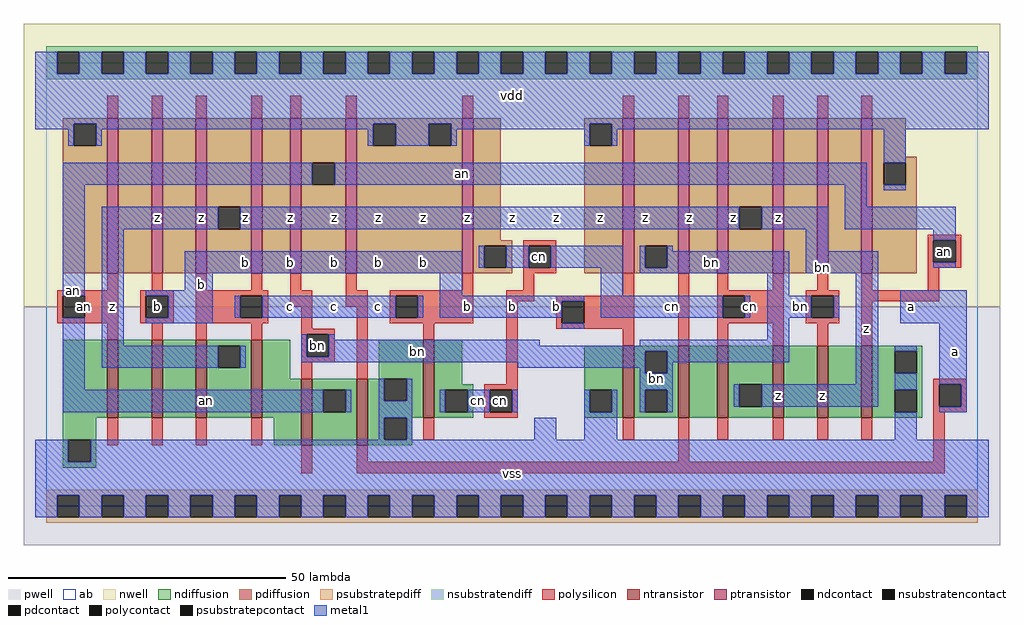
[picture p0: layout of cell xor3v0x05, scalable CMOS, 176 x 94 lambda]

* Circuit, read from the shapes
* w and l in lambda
.subckt xor3v0x05 a an b bn c cn vdd vss z
M1 n1 an vss vss nfet w=14 l=2
M2 n2 b n1 vss nfet w=14 l=2
M3 z c n2 vss nfet w=14 l=2
M4 n3 c z vss nfet w=14 l=2
M5 an bn n3 vss nfet w=12 l=2
M6 vss a an vss nfet w=12 l=2
M7 cn c vss vss nfet w=14 l=2
M8 bn b vss vss nfet w=13 l=2
M9 n4 a bn vss nfet w=13 l=2
M10 z cn n4 vss nfet w=13 l=2
M11 n5 cn z vss nfet w=13 l=2
M12 n6 bn n5 vss nfet w=13 l=2
M13 vss an n6 vss nfet w=13 l=2
M14 n7 an vdd vdd pfet w=28 l=2
M15 n8 b n7 vdd pfet w=28 l=2
M16 z c n8 vdd pfet w=28 l=2
M17 n9 c z vdd pfet w=28 l=2
M18 an bn n9 vdd pfet w=28 l=2
M19 vdd a an vdd pfet w=28 l=2
M20 cn c vdd vdd pfet w=28 l=2
M21 bn b vdd vdd pfet w=28 l=2
M22 n10 a bn vdd pfet w=28 l=2
M23 z cn n10 vdd pfet w=28 l=2
M24 n11 cn z vdd pfet w=28 l=2
M25 n12 bn n11 vdd pfet w=28 l=2
M26 vdd an n12 vdd pfet w=28 l=2
.ends

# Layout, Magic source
magic
tech scmos
<< ab >>
rect 0 0 168 80
<< pwell >>
rect -4 -7 172 36
<< nwell >>
rect -4 36 172 87
<< polysilicon >>
rect 11 70 13 74
rect 19 70 21 74
rect 27 70 29 74
rect 37 70 39 74
rect 44 70 46 74
rect 54 70 56 74
rect 75 70 77 74
rect 104 70 106 74
rect 114 70 116 74
rect 121 70 123 74
rect 131 70 133 74
rect 139 70 141 74
rect 147 70 149 74
rect 86 47 92 48
rect 86 43 87 47
rect 91 43 92 47
rect 86 42 92 43
rect 159 48 165 49
rect 159 44 160 48
rect 164 44 165 48
rect 159 43 165 44
rect 11 39 13 42
rect 19 39 21 42
rect 27 39 29 42
rect 37 39 39 42
rect 44 39 46 42
rect 54 39 56 42
rect 75 39 77 42
rect 86 39 88 42
rect 2 38 13 39
rect 2 34 3 38
rect 7 34 13 38
rect 2 33 13 34
rect 17 38 23 39
rect 17 34 18 38
rect 22 34 23 38
rect 17 33 23 34
rect 27 38 40 39
rect 27 34 35 38
rect 39 34 40 38
rect 44 36 48 39
rect 54 36 58 39
rect 27 33 40 34
rect 11 30 13 33
rect 19 30 21 33
rect 27 30 29 33
rect 37 30 39 33
rect 46 32 48 36
rect 46 31 52 32
rect 46 27 47 31
rect 51 27 52 31
rect 46 26 52 27
rect 46 23 48 26
rect 56 23 58 36
rect 62 38 77 39
rect 62 34 63 38
rect 67 34 77 38
rect 62 33 77 34
rect 83 37 88 39
rect 104 38 106 42
rect 92 37 106 38
rect 68 30 70 33
rect 11 11 13 16
rect 19 11 21 16
rect 27 11 29 16
rect 37 11 39 16
rect 83 22 85 37
rect 92 33 93 37
rect 97 33 106 37
rect 92 32 106 33
rect 104 29 106 32
rect 114 29 116 42
rect 121 39 123 42
rect 131 39 133 42
rect 139 39 141 42
rect 147 39 149 42
rect 159 39 161 43
rect 121 38 133 39
rect 121 34 122 38
rect 126 34 133 38
rect 121 33 133 34
rect 137 38 143 39
rect 137 34 138 38
rect 142 34 143 38
rect 137 33 143 34
rect 147 37 161 39
rect 121 29 123 33
rect 131 29 133 33
rect 139 29 141 33
rect 147 29 149 37
rect 79 21 85 22
rect 79 17 80 21
rect 84 17 85 21
rect 79 16 85 17
rect 160 22 166 23
rect 160 18 161 22
rect 165 18 166 22
rect 160 17 166 18
rect 68 12 70 16
rect 104 12 106 16
rect 46 6 48 11
rect 56 8 58 11
rect 114 8 116 16
rect 121 12 123 16
rect 131 12 133 16
rect 139 12 141 16
rect 147 12 149 16
rect 160 8 162 17
rect 56 6 162 8
<< ndiffusion >>
rect 3 16 11 30
rect 13 16 19 30
rect 21 16 27 30
rect 29 29 37 30
rect 29 25 31 29
rect 35 25 37 29
rect 29 16 37 25
rect 39 23 44 30
rect 60 23 68 30
rect 39 16 46 23
rect 3 12 9 16
rect 3 8 4 12
rect 8 8 9 12
rect 41 11 46 16
rect 48 21 56 23
rect 48 17 50 21
rect 54 17 56 21
rect 48 11 56 17
rect 58 19 61 23
rect 65 19 68 23
rect 58 16 68 19
rect 70 22 75 30
rect 70 21 77 22
rect 70 17 72 21
rect 76 17 77 21
rect 70 16 77 17
rect 97 21 104 29
rect 97 17 98 21
rect 102 17 104 21
rect 97 16 104 17
rect 106 28 114 29
rect 106 24 108 28
rect 112 24 114 28
rect 106 21 114 24
rect 106 17 108 21
rect 112 17 114 21
rect 106 16 114 17
rect 116 16 121 29
rect 123 22 131 29
rect 123 18 125 22
rect 129 18 131 22
rect 123 16 131 18
rect 133 16 139 29
rect 141 16 147 29
rect 149 28 158 29
rect 149 24 153 28
rect 157 24 158 28
rect 149 21 158 24
rect 149 17 153 21
rect 157 17 158 21
rect 149 16 158 17
rect 58 12 61 16
rect 65 12 66 16
rect 58 11 66 12
rect 3 7 9 8
<< pdiffusion >>
rect 3 69 11 70
rect 3 65 5 69
rect 9 65 11 69
rect 3 42 11 65
rect 13 42 19 70
rect 21 42 27 70
rect 29 54 37 70
rect 29 50 31 54
rect 35 50 37 54
rect 29 42 37 50
rect 39 42 44 70
rect 46 62 54 70
rect 46 58 48 62
rect 52 58 54 62
rect 46 42 54 58
rect 56 69 75 70
rect 56 65 59 69
rect 63 65 69 69
rect 73 65 75 69
rect 56 42 75 65
rect 77 48 82 70
rect 97 69 104 70
rect 97 65 98 69
rect 102 65 104 69
rect 77 47 84 48
rect 77 43 79 47
rect 83 43 84 47
rect 77 42 84 43
rect 97 42 104 65
rect 106 47 114 70
rect 106 43 108 47
rect 112 43 114 47
rect 106 42 114 43
rect 116 42 121 70
rect 123 54 131 70
rect 123 50 125 54
rect 129 50 131 54
rect 123 42 131 50
rect 133 42 139 70
rect 141 42 147 70
rect 149 63 155 70
rect 149 62 157 63
rect 149 58 151 62
rect 155 58 157 62
rect 149 42 157 58
<< metal1 >>
rect -2 78 2 82
rect 6 78 10 82
rect 14 78 18 82
rect 22 78 26 82
rect 30 78 34 82
rect 38 78 42 82
rect 46 78 50 82
rect 54 78 58 82
rect 62 78 66 82
rect 70 78 74 82
rect 78 78 82 82
rect 86 78 90 82
rect 94 78 98 82
rect 102 78 106 82
rect 110 78 114 82
rect 118 78 122 82
rect 126 78 130 82
rect 134 78 138 82
rect 142 78 146 82
rect 150 78 154 82
rect 158 78 162 82
rect 166 78 170 82
rect -2 69 170 78
rect -2 68 5 69
rect 4 65 5 68
rect 9 68 59 69
rect 9 65 10 68
rect 58 65 59 68
rect 63 65 69 69
rect 73 68 98 69
rect 73 65 74 68
rect 97 65 98 68
rect 102 68 170 69
rect 102 65 103 68
rect 151 62 155 68
rect 3 58 48 62
rect 52 58 148 62
rect 3 38 7 58
rect 144 54 148 58
rect 151 57 155 58
rect 3 21 7 34
rect 10 50 31 54
rect 35 50 125 54
rect 129 50 141 54
rect 144 50 164 54
rect 10 29 14 50
rect 25 42 75 46
rect 78 43 79 47
rect 83 43 87 47
rect 91 43 104 47
rect 25 39 30 42
rect 18 38 30 39
rect 71 38 75 42
rect 100 38 104 43
rect 107 43 108 47
rect 112 46 113 47
rect 137 46 141 50
rect 160 48 164 50
rect 112 43 134 46
rect 107 42 134 43
rect 137 42 150 46
rect 160 43 164 44
rect 130 38 134 42
rect 22 34 30 38
rect 34 34 35 38
rect 39 34 63 38
rect 67 34 68 38
rect 71 37 97 38
rect 71 34 93 37
rect 18 33 30 34
rect 100 34 122 38
rect 126 34 127 38
rect 130 34 138 38
rect 142 34 143 38
rect 93 32 97 33
rect 10 25 31 29
rect 35 25 36 29
rect 46 27 47 31
rect 51 30 52 31
rect 130 30 134 34
rect 51 29 89 30
rect 107 29 134 30
rect 51 28 134 29
rect 51 27 108 28
rect 46 26 108 27
rect 85 25 108 26
rect 107 24 108 25
rect 112 26 134 28
rect 112 24 113 26
rect 3 17 50 21
rect 54 17 55 21
rect 60 19 61 23
rect 65 19 66 23
rect 107 21 113 24
rect 146 22 150 42
rect 154 33 166 39
rect 60 16 66 19
rect 71 17 72 21
rect 76 17 80 21
rect 84 17 85 21
rect 97 17 98 21
rect 102 17 103 21
rect 107 17 108 21
rect 112 17 113 21
rect 124 18 125 22
rect 129 18 150 22
rect 153 28 157 29
rect 153 21 157 24
rect 161 22 166 33
rect 165 18 166 22
rect 161 17 166 18
rect 60 12 61 16
rect 65 12 66 16
rect 88 12 92 16
rect 97 12 103 17
rect 153 12 157 17
rect -2 8 4 12
rect 8 8 170 12
rect -2 2 170 8
rect -2 -2 2 2
rect 6 -2 10 2
rect 14 -2 18 2
rect 22 -2 26 2
rect 30 -2 34 2
rect 38 -2 42 2
rect 46 -2 50 2
rect 54 -2 58 2
rect 62 -2 66 2
rect 70 -2 74 2
rect 78 -2 82 2
rect 86 -2 90 2
rect 94 -2 98 2
rect 102 -2 106 2
rect 110 -2 114 2
rect 118 -2 122 2
rect 126 -2 130 2
rect 134 -2 138 2
rect 142 -2 146 2
rect 150 -2 154 2
rect 158 -2 162 2
rect 166 -2 170 2
<< ntransistor >>
rect 11 16 13 30
rect 19 16 21 30
rect 27 16 29 30
rect 37 16 39 30
rect 46 11 48 23
rect 56 11 58 23
rect 68 16 70 30
rect 104 16 106 29
rect 114 16 116 29
rect 121 16 123 29
rect 131 16 133 29
rect 139 16 141 29
rect 147 16 149 29
<< ptransistor >>
rect 11 42 13 70
rect 19 42 21 70
rect 27 42 29 70
rect 37 42 39 70
rect 44 42 46 70
rect 54 42 56 70
rect 75 42 77 70
rect 104 42 106 70
rect 114 42 116 70
rect 121 42 123 70
rect 131 42 133 70
rect 139 42 141 70
rect 147 42 149 70
<< polycontact >>
rect 87 43 91 47
rect 160 44 164 48
rect 3 34 7 38
rect 18 34 22 38
rect 35 34 39 38
rect 47 27 51 31
rect 63 34 67 38
rect 93 33 97 37
rect 122 34 126 38
rect 138 34 142 38
rect 80 17 84 21
rect 161 18 165 22
<< ndcontact >>
rect 31 25 35 29
rect 4 8 8 12
rect 50 17 54 21
rect 61 19 65 23
rect 72 17 76 21
rect 98 17 102 21
rect 108 24 112 28
rect 108 17 112 21
rect 125 18 129 22
rect 153 24 157 28
rect 153 17 157 21
rect 61 12 65 16
<< pdcontact >>
rect 5 65 9 69
rect 31 50 35 54
rect 48 58 52 62
rect 59 65 63 69
rect 69 65 73 69
rect 98 65 102 69
rect 79 43 83 47
rect 108 43 112 47
rect 125 50 129 54
rect 151 58 155 62
<< psubstratepcontact >>
rect 2 -2 6 2
rect 10 -2 14 2
rect 18 -2 22 2
rect 26 -2 30 2
rect 34 -2 38 2
rect 42 -2 46 2
rect 50 -2 54 2
rect 58 -2 62 2
rect 66 -2 70 2
rect 74 -2 78 2
rect 82 -2 86 2
rect 90 -2 94 2
rect 98 -2 102 2
rect 106 -2 110 2
rect 114 -2 118 2
rect 122 -2 126 2
rect 130 -2 134 2
rect 138 -2 142 2
rect 146 -2 150 2
rect 154 -2 158 2
rect 162 -2 166 2
<< nsubstratencontact >>
rect 2 78 6 82
rect 10 78 14 82
rect 18 78 22 82
rect 26 78 30 82
rect 34 78 38 82
rect 42 78 46 82
rect 50 78 54 82
rect 58 78 62 82
rect 66 78 70 82
rect 74 78 78 82
rect 82 78 86 82
rect 90 78 94 82
rect 98 78 102 82
rect 106 78 110 82
rect 114 78 118 82
rect 122 78 126 82
rect 130 78 134 82
rect 138 78 142 82
rect 146 78 150 82
rect 154 78 158 82
rect 162 78 166 82
<< psubstratepdiff >>
rect 0 2 168 3
rect 0 -2 2 2
rect 6 -2 10 2
rect 14 -2 18 2
rect 22 -2 26 2
rect 30 -2 34 2
rect 38 -2 42 2
rect 46 -2 50 2
rect 54 -2 58 2
rect 62 -2 66 2
rect 70 -2 74 2
rect 78 -2 82 2
rect 86 -2 90 2
rect 94 -2 98 2
rect 102 -2 106 2
rect 110 -2 114 2
rect 118 -2 122 2
rect 126 -2 130 2
rect 134 -2 138 2
rect 142 -2 146 2
rect 150 -2 154 2
rect 158 -2 162 2
rect 166 -2 168 2
rect 0 -3 168 -2
<< nsubstratendiff >>
rect 0 82 168 83
rect 0 78 2 82
rect 6 78 10 82
rect 14 78 18 82
rect 22 78 26 82
rect 30 78 34 82
rect 38 78 42 82
rect 46 78 50 82
rect 54 78 58 82
rect 62 78 66 82
rect 70 78 74 82
rect 78 78 82 82
rect 86 78 90 82
rect 94 78 98 82
rect 102 78 106 82
rect 110 78 114 82
rect 118 78 122 82
rect 126 78 130 82
rect 134 78 138 82
rect 142 78 146 82
rect 150 78 154 82
rect 158 78 162 82
rect 166 78 168 82
rect 0 77 168 78
<< labels >>
rlabel polysilicon 7 36 7 36 6 an
rlabel polycontact 49 29 49 29 6 bn
rlabel polycontact 82 19 82 19 6 cn
rlabel polycontact 89 45 89 45 6 cn
rlabel polysilicon 127 36 127 36 6 cn
rlabel polycontact 162 46 162 46 6 an
rlabel ptransistor 140 43 140 43 6 bn
rlabel polycontact 20 36 20 36 6 b
rlabel metal1 12 36 12 36 6 z
rlabel metal1 20 52 20 52 6 z
rlabel metal1 5 39 5 39 6 an
rlabel metal1 44 36 44 36 6 c
rlabel metal1 52 36 52 36 6 c
rlabel metal1 52 44 52 44 6 b
rlabel metal1 44 44 44 44 6 b
rlabel metal1 36 44 36 44 6 b
rlabel metal1 28 40 28 40 6 b
rlabel metal1 28 52 28 52 6 z
rlabel metal1 52 52 52 52 6 z
rlabel metal1 44 52 44 52 6 z
rlabel metal1 36 52 36 52 6 z
rlabel metal1 29 19 29 19 6 an
rlabel metal1 76 36 76 36 6 b
rlabel metal1 60 36 60 36 6 c
rlabel metal1 60 44 60 44 6 b
rlabel metal1 68 44 68 44 6 b
rlabel metal1 68 52 68 52 6 z
rlabel metal1 76 52 76 52 6 z
rlabel metal1 60 52 60 52 6 z
rlabel metal1 84 6 84 6 6 vss
rlabel metal1 78 19 78 19 6 cn
rlabel metal1 67 28 67 28 6 bn
rlabel metal1 84 36 84 36 6 b
rlabel metal1 92 36 92 36 6 b
rlabel metal1 84 52 84 52 6 z
rlabel metal1 91 45 91 45 6 cn
rlabel metal1 100 52 100 52 6 z
rlabel metal1 108 52 108 52 6 z
rlabel metal1 92 52 92 52 6 z
rlabel metal1 84 74 84 74 6 vdd
rlabel metal1 132 20 132 20 6 z
rlabel metal1 110 23 110 23 6 bn
rlabel metal1 113 36 113 36 6 cn
rlabel metal1 120 44 120 44 6 bn
rlabel metal1 116 52 116 52 6 z
rlabel metal1 132 52 132 52 6 z
rlabel metal1 124 52 124 52 6 z
rlabel metal1 140 20 140 20 6 z
rlabel metal1 164 28 164 28 6 a
rlabel metal1 136 36 136 36 6 bn
rlabel metal1 156 36 156 36 6 a
rlabel metal1 148 32 148 32 6 z
rlabel metal1 140 44 140 44 6 z
rlabel metal1 162 48 162 48 6 an
rlabel metal1 75 60 75 60 6 an
<< end >>
